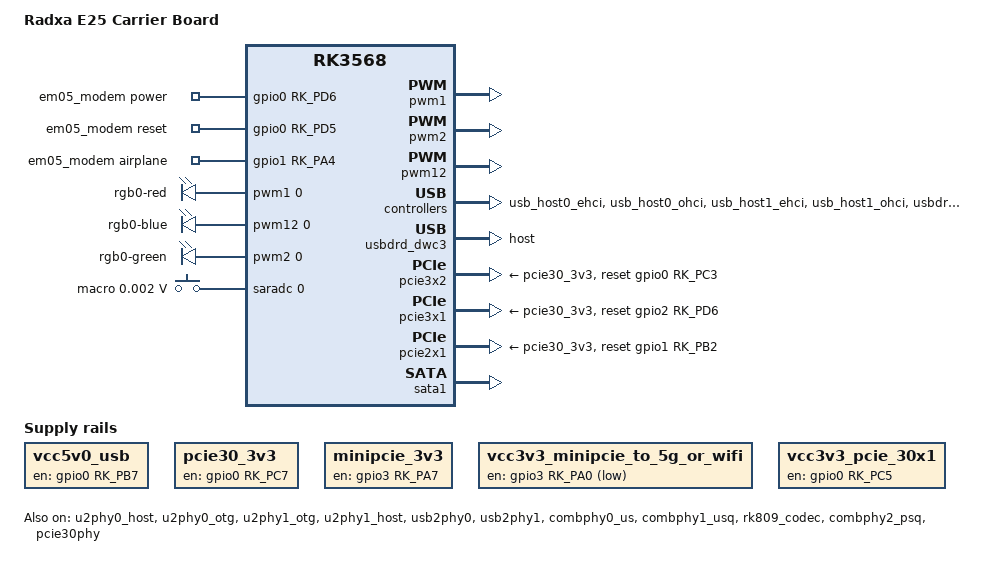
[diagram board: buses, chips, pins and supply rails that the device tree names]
// SPDX-License-Identifier: (GPL-2.0+ OR MIT)
/*
 * Copyright (c) 2023 Radxa Limited.
 *
 */

/dts-v1/;

#include "rk3568-radxa-cm3i.dtsi"

/ {
	model = "Radxa E25 Carrier Board";
	compatible = "radxa,e25", "radxa,cm3i", "rockchip,rk3568";

	fiq_debugger: fiq-debugger {
		compatible = "rockchip,fiq-debugger";
		rockchip,serial-id = <2>;
		rockchip,wake-irq = <0>;
		/* If enable uart uses irq instead of fiq */
		rockchip,irq-mode-enable = <1>;
		rockchip,baudrate = <115200>;  /* Only 115200 and 1500000 */
		interrupts = <GIC_SPI 252 IRQ_TYPE_LEVEL_LOW>;
		pinctrl-names = "default";
		pinctrl-0 = <&uart2m0_xfer>;
		status = "okay";
	};

	debug: debug@fd904000 {
		compatible = "rockchip,debug";
		reg = <0x0 0xfd904000 0x0 0x1000>,
			<0x0 0xfd905000 0x0 0x1000>,
			<0x0 0xfd906000 0x0 0x1000>,
			<0x0 0xfd907000 0x0 0x1000>;
	};

	vcc5v0_usb: vcc5v0-usb {
		compatible = "regulator-fixed";
		enable-active-high;
		gpio = <&gpio0 RK_PB7 GPIO_ACTIVE_HIGH>;
		pinctrl-names = "default";
		pinctrl-0 = <&vcc5v0_en>;
		regulator-name = "vcc5v0_usb";
	};

	pcie30_3v3: pcie30-3v3 {
		compatible = "regulator-fixed";
		regulator-name = "pcie30_3v3";
		enable-active-high;
		regulator-always-on;
		regulator-boot-on;
		gpio = <&gpio0 RK_PC7 GPIO_ACTIVE_HIGH>;
		pinctrl-names = "default";
		pinctrl-0 = <&pcie3v3_en>;
	};

	minipcie_3v3: minipcie_3v3 {
		compatible = "regulator-fixed";
		enable-active-high;
		gpio = <&gpio3 RK_PA7 GPIO_ACTIVE_HIGH>;
		pinctrl-names = "default";
		pinctrl-0 = <&minipcie_en>;
		regulator-name = "vcc3v3_minipcie";
		regulator-always-on;
		regulator-boot-on;
	};

	//low:wifi,high:5G
	vcc3v3_minipcie_to_5g_or_wifi: vcc3v3-minipcie-to-5g-or-wifi {
		compatible = "regulator-fixed";
		enable-active-low;
		gpio = <&gpio3 RK_PA0 GPIO_ACTIVE_LOW>;
		pinctrl-names = "default";
		pinctrl-0 = <&vcc3v3_minipcie_to_5g_or_wifi_en>;
		regulator-name = "vcc3v3_minipcie_to_5g_or_wifi";
		regulator-always-on;
		regulator-boot-on;
	};

	vcc3v3_pcie_30x1: vcc3v3-pci-30x1 {
		compatible = "regulator-fixed";
		enable-active-high;
		gpio = <&gpio0 RK_PC5 GPIO_ACTIVE_HIGH>;
		pinctrl-names = "default";
		pinctrl-0 = <&vcc3v3_pcie_30x1_en>;
		regulator-name = "vcc3v3_pci_30x1";
		regulator-always-on;
		regulator-boot-on;
	};

	em05_modem: em05-modem {
		compatible = "lte-em05-modem-platdata";
		pinctrl-names = "default";
		pinctrl-0 = <&em05_power_en &em05_airplane_mode &em05_reset>;
		em05,power-gpio = <&gpio0 RK_PD6 GPIO_ACTIVE_HIGH>;
		em05,reset-gpio = <&gpio0 RK_PD5 GPIO_ACTIVE_HIGH>;
		em05,airplane-gpio = <&gpio1 RK_PA4 GPIO_ACTIVE_HIGH>;
		status = "okay";
	};

	rgb0: rgb0 {
		compatible = "pwm-leds";
		status = "okay";

		rgb0-red {
			pwms = <&pwm1 0 1000000 0>;
			max-brightness = <255>;
			linux,default-trigger = "default-on";
		};

		rgb0-blue {
			pwms = <&pwm12 0 1000000 0>;
			max-brightness = <255>;
			linux,default-trigger = "default-on";
		};

		rgb0-green {
			pwms = <&pwm2 0 1000000 0>;
			max-brightness = <255>;
			linux,default-trigger = "default-on";
		};
	};

	adc_keys: adc-keys {
		status = "okay";
		compatible = "adc-keys";
		io-channels = <&saradc 0>;
		io-channel-names = "buttons";
		keyup-threshold-microvolt = <1800000>;
		poll-interval = <100>;

		user-key {
			label = "macro";
			linux,code = <KEY_MACRO>;
			press-threshold-microvolt = <1750>;
		};
	};
};

&pwm1 {
	status = "okay";
	pinctrl-names = "active";
	pinctrl-0 = <&pwm1m0_pins>;
};

&pwm2 {
	status = "okay";
	pinctrl-names = "active";
	pinctrl-0 = <&pwm2m0_pins>;
};

&pwm12 {
	status = "okay";
	pinctrl-names = "active";
	pinctrl-0 = <&pwm12m1_pins>;
};

&u2phy0_host {
	status = "okay";
};

&u2phy0_otg {
	vbus-supply = <&vcc5v0_usb>;
	status = "okay";
};

&u2phy1_otg {
	status = "okay";
};

&u2phy1_host {
	status = "okay";
};

&usb2phy0 {
	status = "okay";
};

&usb2phy1 {
	status = "okay";
};

&usb_host0_ehci {
	status = "okay";
};

&usb_host0_ohci {
	status = "okay";
};

&usb_host1_ehci {
	status = "okay";
};

&usb_host1_ohci {
	status = "okay";
};

&usbdrd_dwc3 {
	extcon=<&usb2phy0>;
	dr_mode = "host";
	status = "okay";
};

&usbdrd30 {
	status = "okay";
};

&usbhost_dwc3 {
	status = "okay";
};

&usbhost30 {
	status = "okay";
};

&combphy0_us {
	status = "okay";
};

&combphy1_usq {
	status = "okay";
};

&rk809_codec {
	status = "okay";
};

&combphy2_psq {
	status = "okay";
};

&pcie30phy {
	status = "okay";
};

&pcie3x2 {
	reset-gpios = <&gpio0 RK_PC3 GPIO_ACTIVE_HIGH>;
	vpcie3v3-supply = <&pcie30_3v3>;
	pinctrl-0 = <&pcie30x2m1_pins>;
	rockchip,bifurcation;
	status = "okay";
};

&pcie3x1 {
	reset-gpios = <&gpio2 RK_PD6 GPIO_ACTIVE_HIGH>;
	vpcie3v3-supply = <&pcie30_3v3>;
	pinctrl-0 = <&pcie30x1m1_pins>;
	rockchip,bifurcation;
	status = "okay";
};

&pcie2x1 {
	reset-gpios = <&gpio1 RK_PB2 GPIO_ACTIVE_HIGH>;
	vpcie3v3-supply = <&pcie30_3v3>;
	pinctrl-0 = <&pcie20m2_pins>;
	status = "okay";
};

&sata1 {
	status = "okay";
};

&pinctrl {
	usb {
		vcc5v0_en: vcc5v0-en {
			rockchip,pins = <0 RK_PB7 RK_FUNC_GPIO &pcfg_pull_none>;
		};
	};

	pcie {
		pcie3v3_en: pcie3v3-en {
			rockchip,pins = <0 RK_PC7 RK_FUNC_GPIO &pcfg_pull_none>;
		};

		minipcie_en: vcc3v3-minipcie-en {
			rockchip,pins = <3 RK_PA7 RK_FUNC_GPIO &pcfg_pull_none>;
		};

		vcc3v3_minipcie_to_5g_or_wifi_en: vcc3v3-minipcie-to-5g-or-wifi-en {
			rockchip,pins = <3 RK_PA0 RK_FUNC_GPIO &pcfg_pull_none>;
		};

		vcc3v3_pcie_30x1_en: vcc3v3-pcie-30x1-en {
			rockchip,pins = <0 RK_PC5 RK_FUNC_GPIO &pcfg_pull_none>;
		};
	};

	lte-em05-modem {
		em05_airplane_mode: em05-airplane-mode {
			rockchip,pins = <1 RK_PA4 RK_FUNC_GPIO &pcfg_pull_none>;
		};

		em05_power_en: em05-power-en {
			rockchip,pins = <0 RK_PD6 RK_FUNC_GPIO &pcfg_pull_none>;
		};

		em05_reset: em05-reset {
			rockchip,pins = <0 RK_PD5 RK_FUNC_GPIO &pcfg_pull_none>;
		};
	};
};

&gpio0 {
	gpio-line-names =
		/* GPIO0_A0-A3 */
		"", "", "", "",
		/* GPIO0_A4-A7 */
		"", "", "", "",

		/* GPIO0_B0-B3 */
		"", "", "", "",
		/* GPIO0_B4-B7 */
		"", "", "", "",

		/* GPIO0_C0-C3 */
		"", "", "", "",
		/* GPIO0_C4-C7 */
		"", "", "PIN_18", "",

		/* GPIO0_D0-D3 */
		"", "", "", "",
		/* GPIO0_D4-D7 */
		"", "", "", "";
};

&gpio1 {
	gpio-line-names =
		/* GPIO1_A0-A3 */
		"PIN_3", "PIN_5", "", "",
		/* GPIO1_A4-A7 */
		"", "", "", "",

		/* GPIO1_B0-B3 */
		"", "", "", "",
		/* GPIO1_B4-B7 */
		"", "", "", "",

		/* GPIO1_C0-C3 */
		"", "", "", "",
		/* GPIO1_C4-C7 */
		"", "", "", "",

		/* GPIO1_D0-D3 */
		"", "", "", "",
		/* GPIO1_D4-D7 */
		"", "", "", "";
};

&gpio2 {
	gpio-line-names =
		/* GPIO2_A0-A3 */
		"", "", "", "",
		/* GPIO2_A4-A7 */
		"", "", "", "",

		/* GPIO2_B0-B3 */
		"", "", "", "",
		/* GPIO2_B4-B7 */
		"", "", "", "",

		/* GPIO2_C0-C3 */
		"", "", "", "",
		/* GPIO2_C4-C7 */
		"", "", "", "",

		/* GPIO2_D0-D3 */
		"PIN_21", "PIN_19", "PIN_16", "PIN_23",
		/* GPIO2_D4-D7 */
		"", "", "", "";
};

&gpio3 {
	gpio-line-names =
		/* GPIO3_A0-A3 */
		"", "PIN_17", "", "PIN_12",
		/* GPIO3_A4-A7 */
		"", "", "", "",

		/* GPIO3_B0-B3 */
		"", "", "", "",
		/* GPIO3_B4-B7 */
		"", "", "", "PIN_7",

		/* GPIO3_C0-C3 */
		"PIN_26", "PIN_15", "PIN_8", "PIN_10",
		/* GPIO3_C4-C7 */
		"PIN_11", "PIN_13", "", "",

		/* GPIO3_D0-D3 */
		"", "", "", "",
		/* GPIO3_D4-D7 */
		"", "", "", "";
};

&gpio4 {
	gpio-line-names =
		/* GPIO4_A0-A3 */
		"", "", "", "",
		/* GPIO4_A4-A7 */
		"", "", "", "",

		/* GPIO4_B0-B3 */
		"", "", "", "",
		/* GPIO4_B4-B7 */
		"", "", "", "",

		/* GPIO4_C0-C3 */
		"", "", "", "",
		/* GPIO4_C4-C7 */
		"", "", "PIN_24", "",

		/* GPIO4_D0-D3 */
		"", "", "", "",
		/* GPIO4_D4-D7 */
		"", "", "", "";
};
